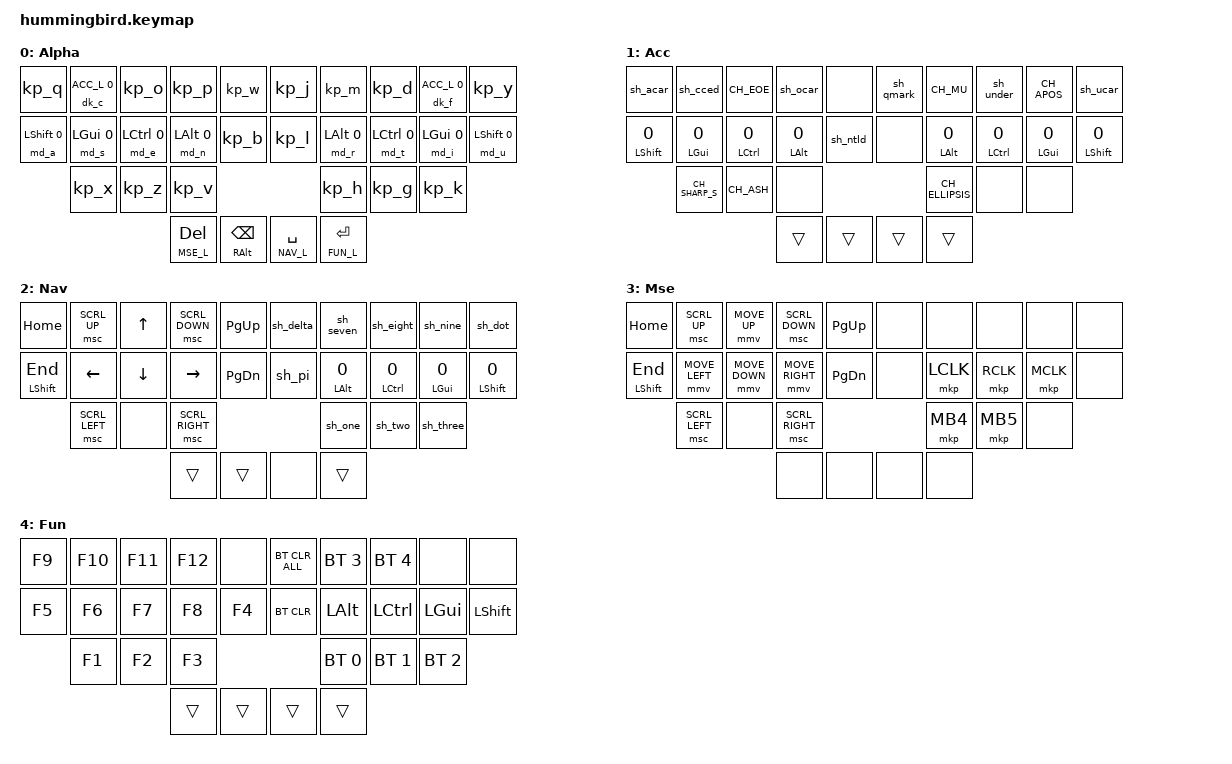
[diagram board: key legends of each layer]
/*
 * Copyright (c) 2022 The ZMK Contributors
 *
 * SPDX-License-Identifier: MIT
 */

#include <behaviors.dtsi>
#include <dt-bindings/zmk/keys.h>
#include <dt-bindings/zmk/pointing.h>
#include <dt-bindings/zmk/bt.h>
#include "keys_fr_swiss.h"
#include "macros.dtsi"
#include "combos.dtsi"
#include "behaviors.dtsi"
#include "definitions.h"

// Using layer taps on thumbs, having quick tap as well helps w/ repeating space/backspace
&lt { quick-tap-ms = <150>; };

/ {
    keymap {
        compatible = "zmk,keymap";

        alpha_layer {
            // ALPHA
            // -----------------------------------------------------------------------------
            // |  Q  |  C  |  O  |  P  |  W  |   |  J  |  M  |  D  |  F  |  Y  |
            // |  A  |  S  |  E  |  N  |  B  |   |  L  |  R  |  T  |  I  |  U  |
            //       |  X  |  Z  |  V  |               |  H  |  G  |  K  |
            //                  | DEL | BSPC |   | SPC  | ENT |
            // ALTGR
            // -----------------------------------------------------------------------------
            // |  ^  | < ≤ | > ≥ | $ £ | % ‰ |   | ; , |  &  | * · | = ' |  `  |
            // | { ° | ( “ | ) ” | } € |  #  |   |  \  | + ± | - ¯ | / ÷ | " @ |
            //       | [ « | ] » | ~ D~|               |  |  | ! ¬ |  ?  |
            //                  | DEL | BSPC |   | SPC  | ENT |
            display-name = "Alpha";
            bindings = <
                &kp_q         &dk_c ACC_L 0 &kp_o         &kp_p         &kp_w            &kp_j           &kp_m        &kp_d         &dk_f ACC_L 0 &kp_y
                &md_a LSHFT 0 &md_s LGUI 0  &md_e LCTRL 0 &md_n LALT 0  &kp_b            &kp_l           &md_r LALT 0 &md_t LCTRL 0 &md_i LGUI 0  &md_u LSHFT 0
                              &kp_x         &kp_z         &kp_v                                          &kp_h        &kp_g         &kp_k
                                                          &lt MSE_L DEL &mt RALT BSPC    &lt NAV_L SPACE &lt FUN_L RET
            >;
        };

        accent_layer {
            // ACC
            // -----------------------------------------------------------------------------
            // | â Â | ç Ç | œ Œ | ô Ô | --- |   | ? ¿ |  µ  | _ – |  '  | û Û |
            // | à À | é É | è È | ê Ê | ñ Ñ |   | --- | ! ¡ | î Î | ï Ï | ù Ù |
            //       | ß ẞ | æ Æ | --- |               |  …  | --- | --- |
            //                  | DEL | BSPC |   | SPC  | ENT |
            display-name = "Acc";
            bindings = <
                &sh_acar         &sh_cced        &kp CH_EOE       &sh_ocar        &none       &sh_qmark &kp CH_MU       &sh_under        &kp CH_APOS      &sh_ucar
                &mt_agrv LSHFT 0 &mt_eacu LGUI 0 &mt_egrv LCTRL 0 &mt_ecar LALT 0 &sh_ntld    &none     &mt_excl LALT 0 &mt_icar LCTRL 0 &mt_iumlt LGUI 0 &mt_ugrv LSHFT 0
                                 &kp CH_SHARP_S  &kp CH_ASH       &none                                 &kp CH_ELLIPSIS &none            &none
                                                                  &trans          &trans      &trans    &trans
            >;
        };

        navigation_layer {
            // NAVIGATION + NUMBER
            // -----------------------------------------------------------------------------
            // |HOME |SCR-U| UP  |SCR-D|PG-UP|   | Δ Σ | 7 ∞ | 8 * | 9 = | . , |
            // | END |LEFT |DOWN |RIGHT|PG-DW|   | π Π | 4 + | 5 - | 6 / |  0  |
            //       |SCR-L| --- |SCR-R|               | 1 ƒ | 2 √ | 3 ∫ |
            //                  | DEL | BSPC |   | SPC  | ENT |
            display-name = "Nav";
            bindings = <
                &kp HOME      &msc SCRL_UP   &kp UP   &msc SCRL_DOWN   &kp PG_UP      &sh_delta &sh_seven       &sh_eight        &sh_nine       &sh_dot
                &mt LSHFT END &kp LEFT       &kp DOWN &kp RIGHT        &kp PG_DN      &sh_pi    &mt_four LALT 0 &mt_five LCTRL 0 &mt_six LGUI 0 &mt_zero LSHFT 0
                              &msc SCRL_LEFT &none    &msc SCRL_RIGHT                           &sh_one         &sh_two          &sh_three
                                                      &trans           &trans         &none     &trans
            >;
        };

        mouse_layer {
            // MOUSE
            // -----------------------------------------------------------------------------
            // |HOME |SCR-U|MSE-U|SCR-D|PG-UP|   | --- | --- | --- | --- | --- |
            // | END |MSE-L|MSE-D|MSE-R|PG-DW|   | --- | MS1 | MS2 | MS3 | --- |
            //       |SCR-L| --- |SCR-R|               | MS4 | MS5 | --- |
            //                  | DEL | BSPC |   | SPC  | ENT |
            display-name = "Mse";
            bindings = <
                &kp HOME      &msc SCRL_UP   &mmv MOVE_UP   &msc SCRL_DOWN  &kp PG_UP    &none &none     &none     &none     &none
                &mt LSHFT END &mmv MOVE_LEFT &mmv MOVE_DOWN &mmv MOVE_RIGHT &kp PG_DN    &none &mkp LCLK &mkp RCLK &mkp MCLK &none
                              &msc SCRL_LEFT &none          &msc SCRL_RIGHT                    &mkp MB4  &mkp MB5  &none
                                                            &none           &none        &none &none
            >;
        };

        function_layer {
            // FUNCTION
            // -----------------------------------------------------------------------------
            // | F9  | F10 | F11 | F12 | --- |   |BTCLRA|BT-3 |BT-4 | --- | --- |
            // | F5  | F6  | F7  | F8  | F4  |   |BTCLR | ALT |CTRL | GUI | SHFT |
            //       | F1  | F2  | F3  |                |BT-0 |BT-1 |BT-2 |
            //                  | DEL | BSPC |   | SPC   | ENT |
            display-name = "Fun";
            bindings = <
                &kp F9 &kp F10 &kp F11 &kp F12 &none      &bt BT_CLR_ALL &bt BT_SEL 3 &bt BT_SEL 4 &none        &none
                &kp F5 &kp F6  &kp F7  &kp F8  &kp F4     &bt BT_CLR     &kp LALT     &kp LCTRL    &kp LGUI     &kp LSHFT
                       &kp F1  &kp F2  &kp F3                            &bt BT_SEL 0 &bt BT_SEL 1 &bt BT_SEL 2
                                       &trans  &trans     &trans         &trans
            >;
        };
    };
};
